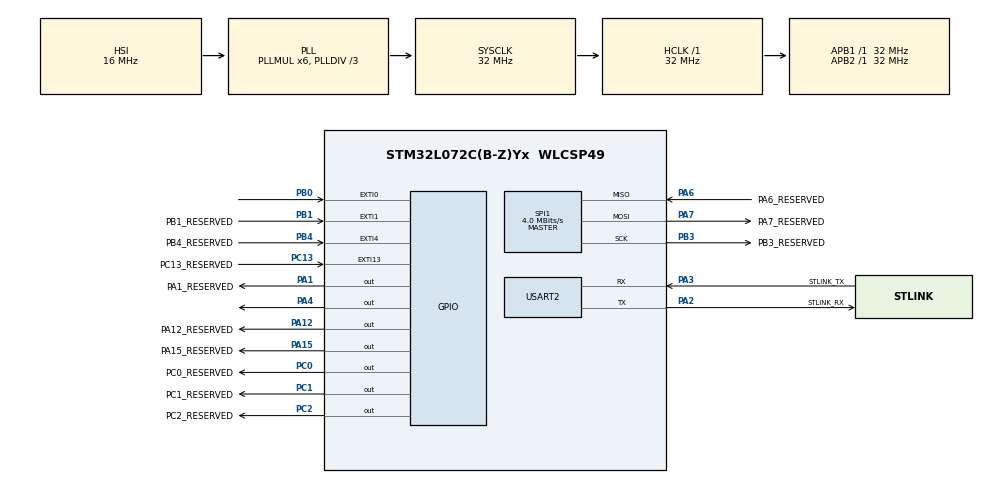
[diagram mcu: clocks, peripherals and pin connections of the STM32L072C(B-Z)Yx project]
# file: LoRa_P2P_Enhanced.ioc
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Mcu.Family=STM32L0
Mcu.Name=STM32L072C(B-Z)Yx
Mcu.Package=WLCSP49
NVIC.EXTI0_1_IRQn=true\:0\:0\:false\:false\:true\:true\:true\:true
NVIC.EXTI4_15_IRQn=true\:0\:0\:false\:false\:true\:true\:true\:true
NVIC.USART2_IRQn=true\:0\:0\:false\:false\:true\:true\:true\:true
PA1.GPIO_Label=PA1_RESERVED
PA1.GPIO_Speed=GPIO_SPEED_FREQ_HIGH
PA1.PinState=GPIO_PIN_RESET
PA1.Signal=GPIO_Output
PA12.GPIO_Label=PA12_RESERVED
PA12.GPIO_Speed=GPIO_SPEED_FREQ_HIGH
PA12.Signal=GPIO_Output
PA13.Mode=Serial_Wire
PA13.Signal=SYS_SWDIO
PA14.Mode=Serial_Wire
PA14.Signal=SYS_SWCLK
PA15.GPIO_Label=PA15_RESERVED
PA15.GPIO_Speed=GPIO_SPEED_FREQ_HIGH
PA15.Signal=GPIO_Output
PA2.GPIO_Label=STLINK_RX
PA2.Mode=Asynchronous
PA2.Signal=USART2_TX
PA3.GPIO_Label=STLINK_TX
PA3.Mode=Asynchronous
PA3.Signal=USART2_RX
PA4.Signal=GPIO_Output
PA6.GPIO_Label=PA6_RESERVED
PA6.Mode=Full_Duplex_Master
PA6.Signal=SPI1_MISO
PA7.GPIO_Label=PA7_RESERVED
PA7.Mode=Full_Duplex_Master
PA7.Signal=SPI1_MOSI
PB0.GPIO_ModeDefaultEXTI=GPIO_MODE_IT_RISING
PB0.Signal=GPXTI0
PB1.GPIO_Label=PB1_RESERVED
PB1.Signal=GPXTI1
PB3.GPIO_Label=PB3_RESERVED
PB3.Mode=Full_Duplex_Master
PB3.Signal=SPI1_SCK
PB4.GPIO_Label=PB4_RESERVED
PB4.Signal=GPXTI4
PC0.GPIO_Label=PC0_RESERVED
PC0.GPIO_Speed=GPIO_SPEED_FREQ_HIGH
PC0.Signal=GPIO_Output
PC1.GPIO_Label=PC1_RESERVED
PC1.GPIO_Speed=GPIO_SPEED_FREQ_HIGH
PC1.Signal=GPIO_Output
PC13.GPIO_Label=PC13_RESERVED
PC13.GPIO_ModeDefaultEXTI=GPIO_MODE_IT_RISING
PC13.Signal=GPXTI13
PC14-OSC32_IN.Mode=LSE-External-Oscillator
PC14-OSC32_IN.Signal=RCC_OSC32_IN
PC15-OSC32_OUT.Mode=LSE-External-Oscillator
PC15-OSC32_OUT.Signal=RCC_OSC32_OUT
PC2.GPIO_Label=PC2_RESERVED
PC2.GPIO_Speed=GPIO_SPEED_FREQ_HIGH
PC2.Signal=GPIO_Output
PH0-OSC_IN.Mode=HSE-External-Oscillator
PH0-OSC_IN.Signal=RCC_OSC_IN
PH1-OSC_OUT.Mode=HSE-External-Oscillator
PH1-OSC_OUT.Signal=RCC_OSC_OUT
ProjectManager.HeapSize=0x200
ProjectManager.StackSize=0x400
ProjectManager.TargetToolchain=STM32CubeIDE
RCC.AHBFreq_Value=32000000
RCC.APB1Freq_Value=32000000
RCC.APB1TimFreq_Value=32000000
RCC.APB2Freq_Value=32000000
RCC.APB2TimFreq_Value=32000000
RCC.HCLKFreq_Value=32000000
RCC.HSE_VALUE=8000000
RCC.HSI16_VALUE=16000000
RCC.HSI48_VALUE=48000000
RCC.HSI_VALUE=16000000
RCC.MSI_VALUE=2097000
RCC.PLLDIV=RCC_PLLDIV_3
RCC.PLLMUL=RCC_PLLMUL_6
RCC.SYSCLKFreq_VALUE=32000000
RCC.SYSCLKSource=RCC_SYSCLKSOURCE_PLLCLK
RCC.VCOOutputFreq_Value=96000000
SPI1.BaudRatePrescaler=SPI_BAUDRATEPRESCALER_8
SPI1.CalculateBaudRate=4.0 MBits/s
SPI1.Direction=SPI_DIRECTION_2LINES
SPI1.Mode=SPI_MODE_MASTER
SPI1.VirtualType=VM_MASTER
USART2.VirtualMode-Asynchronous=VM_ASYNC
VP_RTC_VS_RTC_Activate.Mode=RTC_Enabled
VP_RTC_VS_RTC_Calendar.Mode=RTC_Calendar
board=B-L072Z-LRWAN1

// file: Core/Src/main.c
/* USER CODE BEGIN Header */
/**
  ******************************************************************************
  * @file           : main.c
  * @brief          : Main program body
  ******************************************************************************
  * @attention
  *
  * Copyright (c) 2025 STMicroelectronics.
  * All rights reserved.
  *
  * This software is licensed under terms that can be found in the LICENSE file
  * in the root directory of this software component.
  * If no LICENSE file comes with this software, it is provided AS-IS.
  *
  ******************************************************************************
  */
/* USER CODE END Header */
#include "main.h"
#include "rtc.h"
#include "spi.h"
#include "usart.h"
#include "gpio.h"
#include "at.h"
#include "command.h"
#include "lora.h"
#include "vcom.h"
#include "debug.h"
#include "hw.h"
#include "timeServer.h"
#include "radio.h"

/* USER CODE BEGIN PV */
// Add all your global variables here
// (radio_state, error_stats, test_session, etc.)

// NEW CODE - Atomic radio state management
volatile radio_state_t radio_state = RADIO_STATE_IDLE;
volatile bool radio_state_changed = false;

// NEW CODE - Enhanced error recovery
static error_recovery_t error_stats = {0};
static radio_params_t primary_params = {0};
static radio_params_t fallback_params = {0};
static bool use_fallback_params = false;

// Add all other global variables...
/* USER CODE END PV */

void SystemClock_Config(void);
/* USER CODE BEGIN PFP */
// Add all your function declarations
static bool radio_set_state(radio_state_t new_state);
static radio_state_t radio_get_state(void);
bool radio_is_idle(void);
// ... etc
/* USER CODE END PFP */

int main(void)
{

  /* MCU Configuration--------------------------------------------------------*/

  /* Reset of all peripherals, Initializes the Flash interface and the Systick. */
  HAL_Init();

  /* Configure the system clock */
  SystemClock_Config();

  /* Initialize all configured peripherals */
  MX_GPIO_Init();
  MX_SPI1_Init();
  MX_USART2_UART_Init();
  MX_RTC_Init();

  /* USER CODE BEGIN 2 */
  // Add your initialization code
  CMD_Init();
  error_recovery_init();

  // Initialize LoRa
  lora_test_init();

  PPRINTF("\r\n=== LoRa P2P Enhanced System Started ===\r\n");
  /* USER CODE END 2 */

  /* Infinite loop */
  while (1)
  {

    /* USER CODE BEGIN 3 */
    // Add your main loop code
    CMD_Process();
    send_exti();

    // Check non-blocking delays
    non_blocking_delay_check(&radio_settle_delay);
    non_blocking_delay_check(&rx_window_delay);
    non_blocking_delay_check(&group_timing_delay);

    // Periodic error recovery check
    static uint32_t last_error_check = 0;
    uint32_t current_time = HAL_GetTick();
    if ((current_time - last_error_check) > 30000) {
        last_error_check = current_time;

        if (error_stats.consecutive_errors > 0 &&
            (current_time - error_stats.last_error_time) > 60000) {
            error_recovery_reset();
        }

        if (error_stats.fallback_mode &&
            (current_time - error_stats.last_error_time) > 120000) {
            error_recovery_switch_to_primary();
        }
    }

    // Rest of your main loop...
  }
  /* USER CODE END 3 */
}

void SystemClock_Config(void)
{
  RCC_OscInitTypeDef RCC_OscInitStruct = {0};
  RCC_ClkInitTypeDef RCC_ClkInitStruct = {0};
  RCC_PeriphCLKInitTypeDef PeriphClkInit = {0};

  /** Configure the main internal regulator output voltage
  */
  __HAL_PWR_VOLTAGESCALING_CONFIG(PWR_REGULATOR_VOLTAGE_SCALE1);

  /** Initializes the RCC Oscillators according to the specified parameters
  * in the RCC_OscInitTypeDef structure.
  */
  RCC_OscInitStruct.OscillatorType = RCC_OSCILLATORTYPE_HSI|RCC_OSCILLATORTYPE_LSI;
  RCC_OscInitStruct.HSIState = RCC_HSI_ON;
  RCC_OscInitStruct.HSICalibrationValue = RCC_HSICALIBRATION_DEFAULT;
  RCC_OscInitStruct.LSIState = RCC_LSI_ON;
  RCC_OscInitStruct.PLL.PLLState = RCC_PLL_ON;
  RCC_OscInitStruct.PLL.PLLSource = RCC_PLLSOURCE_HSI;
  RCC_OscInitStruct.PLL.PLLMUL = RCC_PLLMUL_6;
  RCC_OscInitStruct.PLL.PLLDIV = RCC_PLLDIV_3;
  if (HAL_RCC_OscConfig(&RCC_OscInitStruct) != HAL_OK)
  {
    Error_Handler();
  }

  /** Initializes the CPU, AHB and APB buses clocks
  */
  RCC_ClkInitStruct.ClockType = RCC_CLOCKTYPE_HCLK|RCC_CLOCKTYPE_SYSCLK
                              |RCC_CLOCKTYPE_PCLK1|RCC_CLOCKTYPE_PCLK2;
  RCC_ClkInitStruct.SYSCLKSource = RCC_SYSCLKSOURCE_PLLCLK;
  RCC_ClkInitStruct.AHBCLKDivider = RCC_SYSCLK_DIV1;
  RCC_ClkInitStruct.APB1CLKDivider = RCC_HCLK_DIV1;
  RCC_ClkInitStruct.APB2CLKDivider = RCC_HCLK_DIV1;

  if (HAL_RCC_ClockConfig(&RCC_ClkInitStruct, FLASH_LATENCY_1) != HAL_OK)
  {
    Error_Handler();
  }
  PeriphClkInit.PeriphClockSelection = RCC_PERIPHCLK_USART2|RCC_PERIPHCLK_RTC;
  PeriphClkInit.Usart2ClockSelection = RCC_USART2CLKSOURCE_PCLK1;
  PeriphClkInit.RTCClockSelection = RCC_RTCCLKSOURCE_LSI;
  if (HAL_RCCEx_PeriphCLKConfig(&PeriphClkInit) != HAL_OK)
  {
    Error_Handler();
  }
}

/* USER CODE BEGIN 4 */
// Add all your function implementations here
// (radio state management, error recovery, test functions, etc.)

static bool radio_set_state(radio_state_t new_state)
{
    __disable_irq();
    // ... implementation
    __enable_irq();
    return success;
}

// Add all other functions...
/* USER CODE END 4 */

void Error_Handler(void)
{
  __disable_irq();
  while (1)
  {
  }
}
